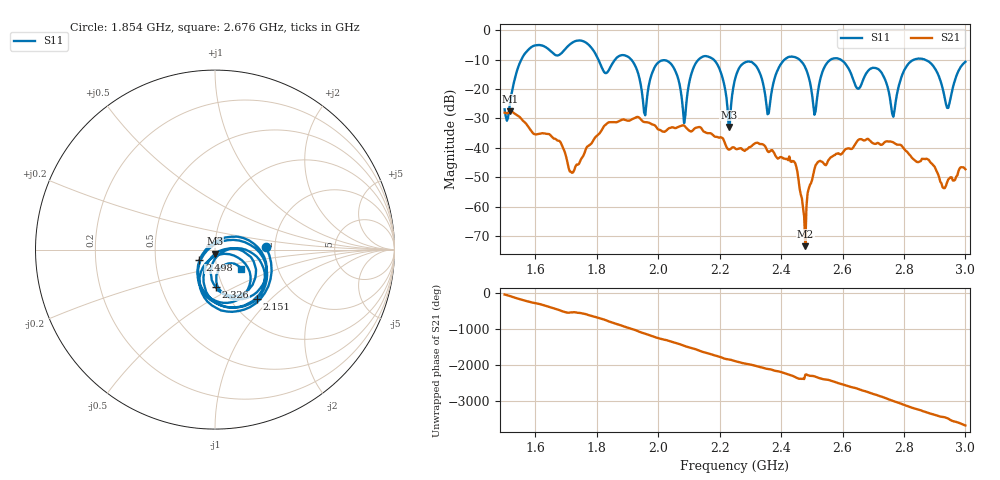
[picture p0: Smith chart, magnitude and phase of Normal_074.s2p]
# HZ S RI R 50
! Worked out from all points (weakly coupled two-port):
!   404 points, 1.5 GHz to 3 GHz, reference 50 ohm
!   highest |S21| = -27.64 dB at 1.519 GHz (marker M1); lowest = -73.4 dB at 2.479 GHz (marker M2)
!   lowest |S11| = -33.0 dB at 2.23 GHz (marker M3), VSWR 1.05, Z = 50 - j2.25 ohm
!   |S11| at or under -10 dB: 1.912 GHz to 2.132 GHz (219.8 MHz wide, 10.9 % of centre); 2.18 GHz to 2.412 GHz (231.6 MHz wide, 10.1 % of centre); 2.594 GHz to 2.834 GHz (240.4 MHz wide, 8.86 % of centre) (the widest 3 of 7)
!   S12 and S22 are empty: the file has one direction only
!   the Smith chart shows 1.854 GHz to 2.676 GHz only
!   S11 on the Smith chart (normalised r, x): 1.854 GHz: 1.79, +0.07; 2.151 GHz: 1.31, -0.83; 2.326 GHz: 0.93, -0.41; 2.498 GHz: 0.84, -0.10; 2.676 GHz: 1.30, -0.29
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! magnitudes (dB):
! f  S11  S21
! 1.5 GHz  -26.9  -28.1
! 1.519 GHz  -24.0  -27.6
! 1.582 GHz  -6.2  -33.6
! 1.753 GHz  -3.7  -43.2
! 1.854 GHz  -10.9  -31.2
! 1.958 GHz  -28.9  -31.3
! 2.002 GHz  -10.8  -33.8
! 2.084 GHz  -31.6  -32.5
! 2.151 GHz  -8.8  -34.7
! 2.23 GHz  -33.0  -40.6
! 2.252 GHz  -16.0  -40.4
! 2.326 GHz  -13.5  -38.4
! 2.36 GHz  -28.3  -41.5
! 2.445 GHz  -9.2  -45.1
! 2.479 GHz  -12.7  -73.4
! 2.498 GHz  -19.6  -52.0
! 2.501 GHz  -22.2  -50.8
! 2.676 GHz  -14.9  -37.3
! 2.751 GHz  -21.0  -37.9
! 2.859 GHz  -9.7  -43.7
! 2.944 GHz  -26.5  -50.7
! 3 GHz  -10.8  -47.3
